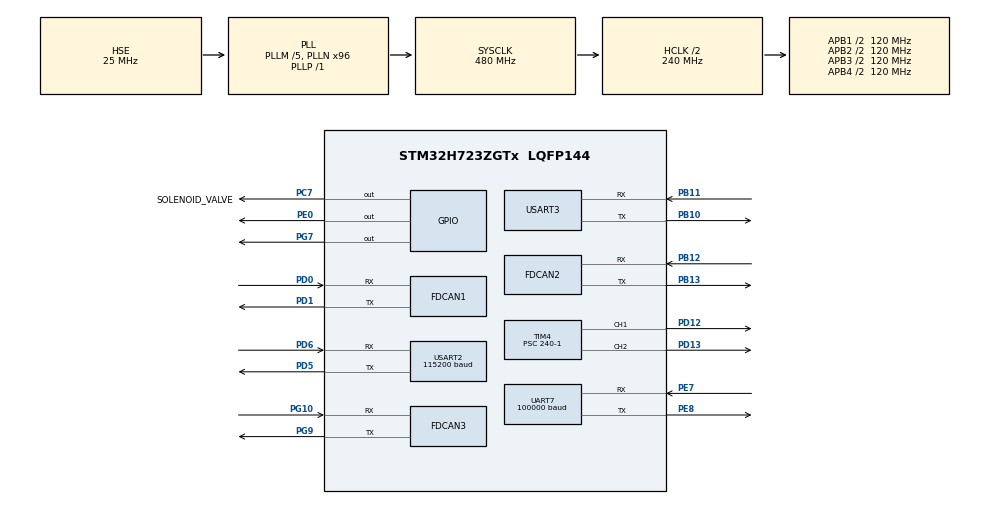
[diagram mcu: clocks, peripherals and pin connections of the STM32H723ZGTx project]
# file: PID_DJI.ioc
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CORTEX_M7.default_mode_Activation=1
Dma.Request0=USART3_RX
Dma.Request1=USART3_TX
Dma.Request2=UART7_RX
Dma.Request3=UART7_TX
Dma.Request4=USART2_RX
Dma.Request5=USART2_TX
Dma.UART7_RX.2.Direction=DMA_PERIPH_TO_MEMORY
Dma.UART7_RX.2.EventEnable=DISABLE
Dma.UART7_RX.2.FIFOMode=DMA_FIFOMODE_DISABLE
Dma.UART7_RX.2.Instance=DMA1_Stream2
Dma.UART7_RX.2.MemDataAlignment=DMA_MDATAALIGN_BYTE
Dma.UART7_RX.2.MemInc=DMA_MINC_ENABLE
Dma.UART7_RX.2.Mode=DMA_NORMAL
Dma.UART7_RX.2.PeriphDataAlignment=DMA_PDATAALIGN_BYTE
Dma.UART7_RX.2.PeriphInc=DMA_PINC_DISABLE
Dma.UART7_RX.2.Polarity=HAL_DMAMUX_REQ_GEN_RISING
Dma.UART7_RX.2.Priority=DMA_PRIORITY_LOW
Dma.UART7_RX.2.RequestNumber=1
Dma.UART7_RX.2.SignalID=NONE
Dma.UART7_RX.2.SyncEnable=DISABLE
Dma.UART7_RX.2.SyncPolarity=HAL_DMAMUX_SYNC_NO_EVENT
Dma.UART7_RX.2.SyncRequestNumber=1
Dma.UART7_RX.2.SyncSignalID=NONE
Dma.UART7_TX.3.Direction=DMA_MEMORY_TO_PERIPH
Dma.UART7_TX.3.EventEnable=DISABLE
Dma.UART7_TX.3.FIFOMode=DMA_FIFOMODE_DISABLE
Dma.UART7_TX.3.Instance=DMA1_Stream3
Dma.UART7_TX.3.MemDataAlignment=DMA_MDATAALIGN_BYTE
Dma.UART7_TX.3.MemInc=DMA_MINC_ENABLE
Dma.UART7_TX.3.Mode=DMA_NORMAL
Dma.UART7_TX.3.PeriphDataAlignment=DMA_PDATAALIGN_BYTE
Dma.UART7_TX.3.PeriphInc=DMA_PINC_DISABLE
Dma.UART7_TX.3.Polarity=HAL_DMAMUX_REQ_GEN_RISING
Dma.UART7_TX.3.Priority=DMA_PRIORITY_LOW
Dma.UART7_TX.3.RequestNumber=1
Dma.UART7_TX.3.SignalID=NONE
Dma.UART7_TX.3.SyncEnable=DISABLE
Dma.UART7_TX.3.SyncPolarity=HAL_DMAMUX_SYNC_NO_EVENT
Dma.UART7_TX.3.SyncRequestNumber=1
Dma.UART7_TX.3.SyncSignalID=NONE
Dma.USART2_RX.4.Direction=DMA_PERIPH_TO_MEMORY
Dma.USART2_RX.4.EventEnable=DISABLE
Dma.USART2_RX.4.FIFOMode=DMA_FIFOMODE_DISABLE
Dma.USART2_RX.4.Instance=DMA1_Stream4
Dma.USART2_RX.4.MemDataAlignment=DMA_MDATAALIGN_BYTE
Dma.USART2_RX.4.MemInc=DMA_MINC_ENABLE
Dma.USART2_RX.4.Mode=DMA_NORMAL
Dma.USART2_RX.4.PeriphDataAlignment=DMA_PDATAALIGN_BYTE
Dma.USART2_RX.4.PeriphInc=DMA_PINC_DISABLE
Dma.USART2_RX.4.Polarity=HAL_DMAMUX_REQ_GEN_RISING
Dma.USART2_RX.4.Priority=DMA_PRIORITY_LOW
Dma.USART2_RX.4.RequestNumber=1
Dma.USART2_RX.4.SignalID=NONE
Dma.USART2_RX.4.SyncEnable=DISABLE
Dma.USART2_RX.4.SyncPolarity=HAL_DMAMUX_SYNC_NO_EVENT
Dma.USART2_RX.4.SyncRequestNumber=1
Dma.USART2_RX.4.SyncSignalID=NONE
Dma.USART2_TX.5.Direction=DMA_MEMORY_TO_PERIPH
Dma.USART2_TX.5.EventEnable=DISABLE
Dma.USART2_TX.5.FIFOMode=DMA_FIFOMODE_DISABLE
Dma.USART2_TX.5.Instance=DMA1_Stream5
Dma.USART2_TX.5.MemDataAlignment=DMA_MDATAALIGN_BYTE
Dma.USART2_TX.5.MemInc=DMA_MINC_ENABLE
Dma.USART2_TX.5.Mode=DMA_NORMAL
Dma.USART2_TX.5.PeriphDataAlignment=DMA_PDATAALIGN_BYTE
Dma.USART2_TX.5.PeriphInc=DMA_PINC_DISABLE
Dma.USART2_TX.5.Polarity=HAL_DMAMUX_REQ_GEN_RISING
Dma.USART2_TX.5.Priority=DMA_PRIORITY_LOW
Dma.USART2_TX.5.RequestNumber=1
Dma.USART2_TX.5.SignalID=NONE
Dma.USART2_TX.5.SyncEnable=DISABLE
Dma.USART2_TX.5.SyncPolarity=HAL_DMAMUX_SYNC_NO_EVENT
Dma.USART2_TX.5.SyncRequestNumber=1
Dma.USART2_TX.5.SyncSignalID=NONE
Dma.USART3_RX.0.Direction=DMA_PERIPH_TO_MEMORY
Dma.USART3_RX.0.EventEnable=DISABLE
Dma.USART3_RX.0.FIFOMode=DMA_FIFOMODE_DISABLE
Dma.USART3_RX.0.Instance=DMA1_Stream0
Dma.USART3_RX.0.MemDataAlignment=DMA_MDATAALIGN_BYTE
Dma.USART3_RX.0.MemInc=DMA_MINC_ENABLE
Dma.USART3_RX.0.Mode=DMA_NORMAL
Dma.USART3_RX.0.PeriphDataAlignment=DMA_PDATAALIGN_BYTE
Dma.USART3_RX.0.PeriphInc=DMA_PINC_DISABLE
Dma.USART3_RX.0.Polarity=HAL_DMAMUX_REQ_GEN_RISING
Dma.USART3_RX.0.Priority=DMA_PRIORITY_LOW
Dma.USART3_RX.0.RequestNumber=1
Dma.USART3_RX.0.SignalID=NONE
Dma.USART3_RX.0.SyncEnable=DISABLE
Dma.USART3_RX.0.SyncPolarity=HAL_DMAMUX_SYNC_NO_EVENT
Dma.USART3_RX.0.SyncRequestNumber=1
Dma.USART3_RX.0.SyncSignalID=NONE
Dma.USART3_TX.1.Direction=DMA_MEMORY_TO_PERIPH
Dma.USART3_TX.1.EventEnable=DISABLE
Dma.USART3_TX.1.FIFOMode=DMA_FIFOMODE_DISABLE
Dma.USART3_TX.1.Instance=DMA1_Stream1
Dma.USART3_TX.1.MemDataAlignment=DMA_MDATAALIGN_BYTE
Dma.USART3_TX.1.MemInc=DMA_MINC_ENABLE
Dma.USART3_TX.1.Mode=DMA_NORMAL
Dma.USART3_TX.1.PeriphDataAlignment=DMA_PDATAALIGN_BYTE
Dma.USART3_TX.1.PeriphInc=DMA_PINC_DISABLE
Dma.USART3_TX.1.Polarity=HAL_DMAMUX_REQ_GEN_RISING
Dma.USART3_TX.1.Priority=DMA_PRIORITY_LOW
Dma.USART3_TX.1.RequestNumber=1
Dma.USART3_TX.1.SignalID=NONE
Dma.USART3_TX.1.SyncEnable=DISABLE
Dma.USART3_TX.1.SyncPolarity=HAL_DMAMUX_SYNC_NO_EVENT
Dma.USART3_TX.1.SyncRequestNumber=1
Dma.USART3_TX.1.SyncSignalID=NONE
FDCAN1.CalculateBaudRateNominal=1000000
FDCAN1.CalculateTimeBitNominal=1000
FDCAN1.CalculateTimeQuantumNominal=25.0
FDCAN1.DataPrescaler=3
FDCAN1.DataSyncJumpWidth=10
FDCAN1.DataTimeSeg1=29
FDCAN1.DataTimeSeg2=10
FDCAN1.NominalPrescaler=3
FDCAN1.NominalSyncJumpWidth=10
FDCAN1.NominalTimeSeg1=29
FDCAN1.NominalTimeSeg2=10
FDCAN1.ProtocolException=ENABLE
FDCAN1.RxFifo0ElmtsNbr=64
FDCAN1.StdFiltersNbr=1
FDCAN1.TxFifoQueueElmtsNbr=32
FDCAN2.CalculateBaudRateNominal=1000000
FDCAN2.CalculateTimeBitNominal=1000
FDCAN2.CalculateTimeQuantumNominal=25.0
FDCAN2.DataPrescaler=3
FDCAN2.DataSyncJumpWidth=10
FDCAN2.DataTimeSeg1=29
FDCAN2.DataTimeSeg2=10
FDCAN2.MessageRAMOffset=0x406
FDCAN2.NominalPrescaler=3
FDCAN2.NominalSyncJumpWidth=10
FDCAN2.NominalTimeSeg1=29
FDCAN2.NominalTimeSeg2=10
FDCAN2.ProtocolException=ENABLE
FDCAN2.RxFifo0ElmtsNbr=64
FDCAN2.StdFiltersNbr=1
FDCAN2.TxFifoQueueElmtsNbr=32
FDCAN3.CalculateBaudRateNominal=1000000
FDCAN3.CalculateTimeBitNominal=1000
FDCAN3.CalculateTimeQuantumNominal=25.0
FDCAN3.DataPrescaler=3
FDCAN3.DataSyncJumpWidth=10
FDCAN3.DataTimeSeg1=29
FDCAN3.DataTimeSeg2=10
FDCAN3.MessageRAMOffset=0x80C
FDCAN3.NominalPrescaler=3
FDCAN3.NominalSyncJumpWidth=10
FDCAN3.NominalTimeSeg1=29
FDCAN3.NominalTimeSeg2=10
FDCAN3.ProtocolException=ENABLE
FDCAN3.RxFifo0ElmtsNbr=64
FDCAN3.StdFiltersNbr=1
FDCAN3.TxFifoQueueElmtsNbr=32
FREERTOS.Tasks01=defaultTask,24,128,StartDefaultTask,Default,NULL,Dynamic,NULL,NULL;myTask02,8,128,StartTask02,Default,NULL,Dynamic,NULL,NULL
IWDG1.Prescaler=IWDG_PRESCALER_8
IWDG1.Reload=30
IWDG1.Window=30
Mcu.Family=STM32H7
Mcu.Name=STM32H723ZGTx
Mcu.Package=LQFP144
NVIC.DMA1_Stream0_IRQn=true\:5\:0\:false\:false\:true\:true\:false\:true\:true
NVIC.DMA1_Stream1_IRQn=true\:5\:0\:false\:false\:true\:true\:false\:true\:true
NVIC.DMA1_Stream2_IRQn=true\:5\:0\:false\:false\:true\:true\:false\:true\:true
NVIC.DMA1_Stream3_IRQn=true\:5\:0\:false\:false\:true\:true\:false\:true\:true
NVIC.DMA1_Stream4_IRQn=true\:5\:0\:false\:false\:true\:true\:false\:true\:true
NVIC.DMA1_Stream5_IRQn=true\:5\:0\:false\:false\:true\:true\:false\:true\:true
NVIC.FDCAN1_IT0_IRQn=true\:6\:0\:true\:false\:true\:true\:true\:true\:true
NVIC.FDCAN2_IT0_IRQn=true\:6\:0\:true\:false\:true\:true\:true\:true\:true
NVIC.FDCAN2_IT1_IRQn=true\:6\:0\:true\:false\:true\:true\:true\:true\:true
NVIC.FDCAN3_IT0_IRQn=true\:5\:0\:false\:false\:true\:true\:true\:true\:true
NVIC.FDCAN3_IT1_IRQn=true\:5\:0\:false\:false\:true\:true\:true\:true\:true
NVIC.FDCAN_CAL_IRQn=true\:5\:0\:false\:false\:true\:true\:true\:true\:true
NVIC.PriorityGroup=NVIC_PRIORITYGROUP_4
NVIC.TIM1_UP_IRQn=true\:15\:0\:false\:false\:true\:false\:false\:true\:true
NVIC.TIM6_DAC_IRQn=true\:5\:0\:false\:false\:true\:true\:true\:true\:true
NVIC.TIM7_IRQn=true\:5\:0\:false\:false\:true\:true\:true\:true\:true
NVIC.TimeBase=TIM1_UP_IRQn
NVIC.TimeBaseIP=TIM1
NVIC.UART7_IRQn=true\:8\:0\:true\:false\:true\:true\:true\:true\:true
NVIC.USART2_IRQn=true\:7\:0\:true\:false\:true\:true\:true\:true\:true
NVIC.USART3_IRQn=true\:7\:0\:true\:false\:true\:true\:true\:true\:true
PA13(JTMS/SWDIO).Mode=Serial_Wire
PA13(JTMS/SWDIO).Signal=DEBUG_JTMS-SWDIO
PA14(JTCK/SWCLK).Mode=Serial_Wire
PA14(JTCK/SWCLK).Signal=DEBUG_JTCK-SWCLK
PB10.Mode=Asynchronous
PB10.Signal=USART3_TX
PB11.Mode=Asynchronous
PB11.Signal=USART3_RX
PB12.Mode=FDCAN_Activate
PB12.Signal=FDCAN2_RX
PB13.Mode=FDCAN_Activate
PB13.Signal=FDCAN2_TX
PC14-OSC32_IN.Mode=LSE-External-Oscillator
PC14-OSC32_IN.Signal=RCC_OSC32_IN
PC15-OSC32_OUT.Mode=LSE-External-Oscillator
PC15-OSC32_OUT.Signal=RCC_OSC32_OUT
PC7.GPIO_Label=SOLENOID_VALVE
PC7.PinState=GPIO_PIN_SET
PC7.Signal=GPIO_Output
PD0.Mode=FDCAN_Activate
PD0.Signal=FDCAN1_RX
PD1.Mode=FDCAN_Activate
PD1.Signal=FDCAN1_TX
PD12.Signal=S_TIM4_CH1
PD13.Signal=S_TIM4_CH2
PD5.Mode=Asynchronous
PD5.Signal=USART2_TX
PD6.Mode=Asynchronous
PD6.Signal=USART2_RX
PE0.Signal=GPIO_Output
PE7.Mode=Asynchronous
PE7.Signal=UART7_RX
PE8.Mode=Asynchronous
PE8.Signal=UART7_TX
PG10.Mode=FDCAN_Activate
PG10.Signal=FDCAN3_RX
PG7.GPIO_PuPd=GPIO_PULLUP
PG7.Signal=GPIO_Output
PG9.Mode=FDCAN_Activate
PG9.Signal=FDCAN3_TX
PH0-OSC_IN.Mode=HSE-External-Oscillator
PH0-OSC_IN.Signal=RCC_OSC_IN
PH1-OSC_OUT.Mode=HSE-External-Oscillator
PH1-OSC_OUT.Signal=RCC_OSC_OUT
ProjectManager.HeapSize=0x200
ProjectManager.StackSize=0x400
ProjectManager.TargetToolchain=MDK-ARM V5.32
RCC.ADCFreq_Value=50390625
RCC.APB1Freq_Value=120000000
RCC.APB2Freq_Value=120000000
RCC.APB3Freq_Value=120000000
RCC.APB4Freq_Value=120000000
RCC.CortexFreq_Value=480000000
RCC.D1PPRE=RCC_APB3_DIV2
RCC.D2PPRE1=RCC_APB1_DIV2
RCC.D2PPRE2=RCC_APB2_DIV2
RCC.D3PPRE=RCC_APB4_DIV2
RCC.DIVM1=5
RCC.DIVN1=96
RCC.DIVP1=1
RCC.DIVQ1=4
RCC.HCLKFreq_Value=240000000
RCC.HPRE=RCC_HCLK_DIV2
RCC.HSE_VALUE=25000000
RCC.PLLFRACN=0
RCC.PLLSourceVirtual=RCC_PLLSOURCE_HSE
RCC.SYSCLKFreq_VALUE=480000000
RCC.SYSCLKSource=RCC_SYSCLKSOURCE_PLLCLK
RCC.USBFreq_Value=120000000
SH.S_TIM4_CH1.0=TIM4_CH1,PWM Generation1 CH1
SH.S_TIM4_CH2.0=TIM4_CH2,PWM Generation2 CH2
TIM4.Channel-PWM\ Generation1\ CH1=TIM_CHANNEL_1
TIM4.Channel-PWM\ Generation2\ CH2=TIM_CHANNEL_2
TIM4.Period=20000-1
TIM4.Prescaler=240-1
TIM6.Period=1000
TIM6.Prescaler=240
TIM7.Period=1000
TIM7.Prescaler=240
UART7.BaudRate=100000
USART2.BaudRate=115200
USART2.VirtualMode-Asynchronous=VM_ASYNC
USART3.VirtualMode-Asynchronous=VM_ASYNC
VP_FREERTOS_VS_CMSIS_V2.Mode=CMSIS_V2
VP_IWDG1_VS_IWDG.Mode=IWDG_Activate
VP_SYS_VS_tim1.Mode=TIM1
VP_TIM6_VS_ClockSourceINT.Mode=Enable_Timer
VP_TIM7_VS_ClockSourceINT.Mode=Enable_Timer
board=custom

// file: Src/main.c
/* USER CODE BEGIN Header */
/**
  ******************************************************************************
  * @file           : main.c
  * @brief          : Main program body
  ******************************************************************************
  * @attention
  *
  * Copyright (c) 2024 STMicroelectronics.
  * All rights reserved.
  *
  * This software is licensed under terms that can be found in the LICENSE file
  * in the root directory of this software component.
  * If no LICENSE file comes with this software, it is provided AS-IS.
  *
  ******************************************************************************
  */
/* USER CODE END Header */
#include "main.h"
#include "cmsis_os.h"
#include "dma.h"
#include "fdcan.h"
#include "iwdg.h"
#include "tim.h"
#include "usart.h"
#include "gpio.h"

/* USER CODE BEGIN Includes */
#include "PID_MODEL.h"
#include "rtwtypes.h"
#include <math.h>
#include "bsp_fdcan.h"
#include "motorctrl.h"
#include "stdio.h"
#include "math.h"
#include "dm_motor_drv.h"
#include "dm_motor_ctrl.h"
#include "UPPER_LOCATION.h"
#include "stdio.h"
#include "string.h"
#include "sbus.h"
#include "r1_shoot.h"

/* USER CODE END Includes */

/* USER CODE BEGIN PTD */
extern motor_t motor[num];
extern uint8_t CAN_RECEIVE[3];
extern TGT_COOR TC;
extern REAL_COOR RC;
extern double deadband;
extern motor_measure_t *motor_data_can1[8];
extern motor_measure_t *motor_data_can2[8];
extern motor_measure_t *motor_data_can3[8];

extern IWDG_HandleTypeDef hiwdg1;
extern int Vel_Deadband[3];
extern double tor_output[3*8];
extern shoot_t shoot_data;
extern SBUS_CH_Struct SBUS_CH;
extern uint8_t DribblingStatus;
#define CUR      0
#define VEL      1
#define ANG      2

#define PI 3.1415926
#define m6020_2_1_init 5848
#define m6020_2_2_init 3021
#define m6020_2_3_init	3055
uint8_t active_can[10];
uint8_t shoot_flag[10]={0};
uint8_t dri_flag=0;

/* USER CODE END PTD */

/* USER CODE BEGIN PM */

int theta_test[10];

uint8_t uart_index[2] = {0};
uint8_t buffer[100];
char UART2_TX_BUF[100];
uint8_t UART7_RX_BUF[100];
uint8_t UART2_RX_BUF[100];
uint8_t rx_datatemp[8];
int cnt[10];
int PinState=0;
uint8_t usart2_rec=0;
/* USER CODE END PM */

void SystemClock_Config(void);
static void MPU_Config(void);
void MX_FREERTOS_Init(void);

int main(void)
{

  /* MPU Configuration--------------------------------------------------------*/
  MPU_Config();

  /* MCU Configuration--------------------------------------------------------*/

  /* Reset of all peripherals, Initializes the Flash interface and the Systick. */
  HAL_Init();

  /* Configure the system clock */
  SystemClock_Config();

  /* Initialize all configured peripherals */
  MX_GPIO_Init();
  MX_DMA_Init();
  MX_TIM6_Init();
  MX_FDCAN2_Init();
  MX_USART2_UART_Init();
  MX_FDCAN3_Init();
  MX_USART3_UART_Init();
  MX_FDCAN1_Init();
  MX_UART7_Init();
 // MX_IWDG1_Init();
  MX_TIM4_Init();
  MX_TIM7_Init();
  /* USER CODE BEGIN 2 */
	HAL_TIM_PWM_Start(&htim4,TIM_CHANNEL_1);
	HAL_TIM_PWM_Start(&htim4,TIM_CHANNEL_2);

	HAL_TIM_Base_Start_IT(&htim6);
	HAL_TIM_Base_Start_IT(&htim7);

	HAL_UART_Receive_IT(&huart2, buffer+1, 1);
	HAL_UART_Receive_IT(&huart7, buffer, 1);
//  can_filter_init();
//	bsp_can_init();
  fdcan_filter_init(&hfdcan1);
	fdcan_filter_init(&hfdcan2);
  fdcan_filter_init(&hfdcan3);

	PID_MODEL_initialize();
	PID_Speed_Para_Init(1, 1, 10 , 3 , 0.01);
	PID_Speed_Para_Init(1, 2, 10 , 3 , 0.01);
	PID_Speed_Para_Init(1, 3, 10 , 3 , 0.01);
	PID_Speed_Para_Init(1, 4, 10 , 3 , 0.01);
	PID_Speed_Para_Init(1, 5, 70 , 50 , 0.01);

//
	PID_Speed_Para_Init(2, 1, 20 , 8 , 0.01);
	PID_Speed_Para_Init(2, 2, 20 , 8 , 0.01);
	PID_Speed_Para_Init(2, 3, 20 , 8 , 0.01);

	PID_Speed_Para_Init(2, 5, 70 , 8 , 0.01);
	PID_Speed_Para_Init(2, 6, 70 , 8 , 0.01);
	PID_Speed_Para_Init(2, 7, 70 , 8 , 0.01);

	PID_Speed_Para_Init(3, 1, 10 , 3 , 0.01);
	PID_Speed_Para_Init(3, 2, 10 , 3 , 0.01);
	PID_Speed_Para_Init(3, 3, 10 , 3 , 0.01);
	PID_Speed_Para_Init(3, 4, 10 , 3 , 0.01);
	PID_Speed_Para_Init(3, 5, 10 , 3 , 0.01);
	PID_Speed_Para_Init(3, 6, 10 , 3 , 0.01);
	PID_Speed_Para_Init(3, 7, 10 , 3 , 0.01);

	PID_Angle_S_Para_Init(1, 1 , 10 , 3 , 0.01);
  PID_Angle_A_Para_Init(1, 1 , 0.3 , 0 , 0);

	PID_Angle_S_Para_Init(1, 2 , 10 , 3 , 0.01);
  PID_Angle_A_Para_Init(1, 2 , 0.3 , 0 , 0);

	PID_Angle_S_Para_Init(1, 3 , 10 , 3 , 0.01);
  PID_Angle_A_Para_Init(1, 3 , 0.3 , 0 , 0);

	PID_Angle_S_Para_Init(1, 5 , 4 , 0.5 , 0.1);
  PID_Angle_A_Para_Init(1, 5 , 0.5 , 0.07 , 0.01);
  PID_Angle_S_Para_Init(1, 6 , 4 , 0.5 , 0.1);
  PID_Angle_A_Para_Init(1, 6 , 0.5 , 0.07 , 0.01);

  PID_Angle_S_Para_Init(1, 7 , 10 , 3 , 0.01);
  PID_Angle_A_Para_Init(1, 7 , 0.3 , 0 , 0);

	PID_Angle_S_Para_Init(2, 1 , 10 , 3 , 0.01);
  PID_Angle_A_Para_Init(2, 1 , 0.3 , 0 , 0);

	PID_Angle_S_Para_Init(2, 3 , 5 , 3 , 0.01);
  PID_Angle_A_Para_Init(2, 3 , 1.5 , 1 , 0.1);

	PID_Angle_S_Para_Init(2, 5 , 70 , 30 , 0.1);
  PID_Angle_A_Para_Init(2, 5 , 0.5 , 0 , 0);
	PID_Angle_S_Para_Init(2, 6 , 70 , 30 , 0.1);
  PID_Angle_A_Para_Init(2, 6 , 0.5 , 0 , 0);
	PID_Angle_S_Para_Init(2, 7 , 70 , 30 , 0.1);
  PID_Angle_A_Para_Init(2, 7 , 0.5 , 0 , 0);

	PID_Angle_S_Para_Init(3, 1 , 10 , 3 , 0.01);
  PID_Angle_A_Para_Init(3, 1 , 0.3 , 0 , 0);

	PID_Angle_S_Para_Init(3, 5 , 4 , 0.5 , 0.1); //这个是夹爪的2006
  PID_Angle_A_Para_Init(3, 5 , 0.5 , 0.07 , 0.01);
  PID_Angle_S_Para_Init(3, 6 , 4 , 0.5 , 0.1);//升降�?3508
  PID_Angle_A_Para_Init(3, 6 , 0.5 , 0.07 , 0.01);

  PID_Angle_S_Para_Init(3, 7 , 10 , 3 , 0.01);//上弹的时候转的那�?3508
  PID_Angle_A_Para_Init(3, 7 , 0.3 , 0 , 0);

	Set_6020_Mode( 0 );
	set_mode( VEL, VEL, ANG, VEL, VEL, ANG, ANG,
            VEL, VEL, VEL, VEL, ANG, ANG, ANG,
					  ANG, VEL, VEL, VEL, ANG, ANG, ANG );
	dm_motor_init();
	for(int i=0;i<10;i++){
		dm_motor_enable(&hfdcan1,&motor[Motor1]);
		dm_motor_enable(&hfdcan1,&motor[Motor2]);
		dm_motor_enable(&hfdcan1,&motor[Motor3]);
		HAL_Delay(10);
	}

	memset(UART2_TX_BUF,0,sizeof(UART2_TX_BUF));
	rtU.target_CH1_5=1000;
//	while(1){
//		active_can[0]=motor_data_can2[4]->activate;
//		if(active_can[0])
//			break;
//	}

//		rtU.target_CH2_5=m6020_2_1_init;
//	while(1){
//		active_can[1]=motor_data_can2[5]->activate;
//		if(active_can[1])
//			break;
//	}

//		rtU.target_CH2_6=m6020_2_2_init;
//	while(1){
//		active_can[2]=motor_data_can2[6]->activate;
//		if(active_can[2])
//			break;
//	}

//		rtU.target_CH2_7=m6020_2_3_init;

  /* USER CODE END 2 */

  /* Init scheduler */
  osKernelInitialize();

  /* Call init function for freertos objects (in cmsis_os2.c) */
  MX_FREERTOS_Init();

  /* Start scheduler */
  osKernelStart();

  /* We should never get here as control is now taken by the scheduler */

  /* Infinite loop */
  /* USER CODE BEGIN WHILE */
  while (1)
  {

//		if(RC.action==1)
//		{
//			int buff_len;
//			memset(UART2_TX_BUF,0,sizeof(UART2_TX_BUF));
//			buff_len = sprintf(UART2_TX_BUF,"%f\r\n",(float)deadband);
//			HAL_UART_Transmit_DMA(&huart2,(uint8_t *)UART2_TX_BUF,buff_len);
//		}

    /* USER CODE END WHILE */

  }
}

void SystemClock_Config(void)
{
  RCC_OscInitTypeDef RCC_OscInitStruct = {0};
  RCC_ClkInitTypeDef RCC_ClkInitStruct = {0};

  /** Supply configuration update enable
  */
  HAL_PWREx_ConfigSupply(PWR_LDO_SUPPLY);

  /** Configure the main internal regulator output voltage
  */
  __HAL_PWR_VOLTAGESCALING_CONFIG(PWR_REGULATOR_VOLTAGE_SCALE0);

  while(!__HAL_PWR_GET_FLAG(PWR_FLAG_VOSRDY)) {}

  /** Initializes the RCC Oscillators according to the specified parameters
  * in the RCC_OscInitTypeDef structure.
  */
  RCC_OscInitStruct.OscillatorType = RCC_OSCILLATORTYPE_LSI|RCC_OSCILLATORTYPE_HSE;
  RCC_OscInitStruct.HSEState = RCC_HSE_ON;
  RCC_OscInitStruct.LSIState = RCC_LSI_ON;
  RCC_OscInitStruct.PLL.PLLState = RCC_PLL_ON;
  RCC_OscInitStruct.PLL.PLLSource = RCC_PLLSOURCE_HSE;
  RCC_OscInitStruct.PLL.PLLM = 5;
  RCC_OscInitStruct.PLL.PLLN = 96;
  RCC_OscInitStruct.PLL.PLLP = 1;
  RCC_OscInitStruct.PLL.PLLQ = 4;
  RCC_OscInitStruct.PLL.PLLR = 2;
  RCC_OscInitStruct.PLL.PLLRGE = RCC_PLL1VCIRANGE_2;
  RCC_OscInitStruct.PLL.PLLVCOSEL = RCC_PLL1VCOWIDE;
  RCC_OscInitStruct.PLL.PLLFRACN = 0;
  if (HAL_RCC_OscConfig(&RCC_OscInitStruct) != HAL_OK)
  {
    Error_Handler();
  }

  /** Initializes the CPU, AHB and APB buses clocks
  */
  RCC_ClkInitStruct.ClockType = RCC_CLOCKTYPE_HCLK|RCC_CLOCKTYPE_SYSCLK
                              |RCC_CLOCKTYPE_PCLK1|RCC_CLOCKTYPE_PCLK2
                              |RCC_CLOCKTYPE_D3PCLK1|RCC_CLOCKTYPE_D1PCLK1;
  RCC_ClkInitStruct.SYSCLKSource = RCC_SYSCLKSOURCE_PLLCLK;
  RCC_ClkInitStruct.SYSCLKDivider = RCC_SYSCLK_DIV1;
  RCC_ClkInitStruct.AHBCLKDivider = RCC_HCLK_DIV2;
  RCC_ClkInitStruct.APB3CLKDivider = RCC_APB3_DIV2;
  RCC_ClkInitStruct.APB1CLKDivider = RCC_APB1_DIV2;
  RCC_ClkInitStruct.APB2CLKDivider = RCC_APB2_DIV2;
  RCC_ClkInitStruct.APB4CLKDivider = RCC_APB4_DIV2;

  if (HAL_RCC_ClockConfig(&RCC_ClkInitStruct, FLASH_LATENCY_3) != HAL_OK)
  {
    Error_Handler();
  }
}

/* USER CODE BEGIN 4 */

void HAL_UART_RxCpltCallback(UART_HandleTypeDef *huart)
{

		 if (huart->Instance == USART2)
    {
				if(uart_index[1] == 0 && buffer[1]!=0xA5){
					HAL_UART_Receive_IT(&huart2, buffer+1, 1);

				}else{
        UART2_RX_BUF[uart_index[1]++] = buffer[1];

        if (uart_index[1] == 16)
        {
            uart_index[1] = 0;
            if (UART2_RX_BUF[0] == 0xA5 && UART2_RX_BUF[15] == 0x5A)
            {
								Receive();

            }
        }

        HAL_UART_Receive_IT(&huart2, buffer+1, 1);
			}

    }

    if (huart->Instance == UART7)
    {

			if(uart_index[0] == 0 && buffer[0]!=0x0F){
					HAL_UART_Receive_IT(&huart7, buffer, 1);

				}else
        UART7_RX_BUF[uart_index[0]++] = buffer[0];

        if (uart_index[0] == 24)
        {
            uart_index[0] = 0;
            if (UART7_RX_BUF[0] == 0x0F && UART7_RX_BUF[24] == 0x00)
            {
								update_sbus(UART7_RX_BUF);
            }
        }

        HAL_UART_Receive_IT(&huart7, buffer, 1);

    }
}
void HAL_UART_ErrorCallback(UART_HandleTypeDef *huart)
{
  if (huart->Instance == UART7)
  {
        HAL_UART_Receive_IT(&huart7, buffer+1, 1);

  }
  if (huart->Instance == USART2)
  {
    HAL_UART_Receive_IT(&huart2, buffer, 1);
  }
}

/* USER CODE END 4 */

 /* MPU Configuration */

void MPU_Config(void)
{
  MPU_Region_InitTypeDef MPU_InitStruct = {0};

  /* Disables the MPU */
  HAL_MPU_Disable();

  /** Initializes and configures the Region and the memory to be protected
  */
  MPU_InitStruct.Enable = MPU_REGION_ENABLE;
  MPU_InitStruct.Number = MPU_REGION_NUMBER0;
  MPU_InitStruct.BaseAddress = 0x0;
  MPU_InitStruct.Size = MPU_REGION_SIZE_4GB;
  MPU_InitStruct.SubRegionDisable = 0x87;
  MPU_InitStruct.TypeExtField = MPU_TEX_LEVEL0;
  MPU_InitStruct.AccessPermission = MPU_REGION_NO_ACCESS;
  MPU_InitStruct.DisableExec = MPU_INSTRUCTION_ACCESS_DISABLE;
  MPU_InitStruct.IsShareable = MPU_ACCESS_SHAREABLE;
  MPU_InitStruct.IsCacheable = MPU_ACCESS_NOT_CACHEABLE;
  MPU_InitStruct.IsBufferable = MPU_ACCESS_NOT_BUFFERABLE;

  HAL_MPU_ConfigRegion(&MPU_InitStruct);
  /* Enables the MPU */
  HAL_MPU_Enable(MPU_PRIVILEGED_DEFAULT);

}

void HAL_TIM_PeriodElapsedCallback(TIM_HandleTypeDef *htim)
{
  if (htim->Instance == TIM1) {
    HAL_IncTick();
  }
  /* USER CODE BEGIN Callback 1 */
  if (htim->Instance == TIM6)
  {

		dm_motor_ctrl_send(&hfdcan1,&motor[Motor1]);

		float pos = 5.0*sin(3.14*cnt[0]/1000);
		motor[Motor1].ctrl.pos_set=pos;

    cnt[0]++;
		HAL_IWDG_Refresh(&hiwdg1);//feed the IWG

		Reach_TGT();
		get_msgn();
		assign_output();
    motor_state_update();
		set_reset_status();
		PID_MODEL_step();
		cnt[1]++;
		if(cnt[1]==500){
			HAL_GPIO_TogglePin(GPIOG,GPIO_PIN_7);
			cnt[1]=0;
		}

  }

	 if (htim->Instance == TIM7)
	{
		reload();
		rtU.status_CH1_1=CUR;
		rtU.status_CH1_2=CUR;
		tor_output[CH1_1]=-shoot_data.output_stg;
		tor_output[CH1_2]=shoot_data.output_stg;
		SetServo(&htim4, TIM_CHANNEL_1, shoot_data.output_servo0, 20000, 20);
		SetServo(&htim4, TIM_CHANNEL_2, shoot_data.output_servo1, 20000, 20);

				if(SBUS_CH.ConnectState==1&&SBUS_CH.CH6<800){
			if(SBUS_CH.CH5>600&&SBUS_CH.CH5<1200&&shoot_flag[0]==0){
				shoot_flag[0]=1;
				shoot_data.shoot_ctl=1;
			}
			if(SBUS_CH.CH5<600&&shoot_flag[1]==0){
				shoot_flag[1]=1;
				shoot_data.shoot_ctl=4;
			}
			if(SBUS_CH.CH5>1200)
			{
				shoot_flag[0]=0;
				shoot_flag[1]=0;

			}
		}

		else if(SBUS_CH.ConnectState==1&&SBUS_CH.CH6<1200&&SBUS_CH.CH6>800){

			if(SBUS_CH.CH5<1200&&dri_flag==0){
				dri_flag=1;
				DribblingStatus=1;
			}
			if(SBUS_CH.CH5>1200)
			{
				dri_flag=0;
			}
		}
			cnt[2]++;

		}
  /* USER CODE END Callback 1 */
}

void Error_Handler(void)
{
  __disable_irq();
  while (1)
  {
  }
}

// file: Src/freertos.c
/* USER CODE BEGIN Header */
/**
  ******************************************************************************
  * File Name          : freertos.c
  * Description        : Code for freertos applications
  ******************************************************************************
  * @attention
  *
  * Copyright (c) 2025 STMicroelectronics.
  * All rights reserved.
  *
  * This software is licensed under terms that can be found in the LICENSE file
  * in the root directory of this software component.
  * If no LICENSE file comes with this software, it is provided AS-IS.
  *
  ******************************************************************************
  */
/* USER CODE END Header */

#include "FreeRTOS.h"
#include "task.h"
#include "main.h"
#include "cmsis_os.h"

/* USER CODE BEGIN Includes */
#include "PID_MODEL.h"
#include "rtwtypes.h"
#include <math.h>
#include "bsp_fdcan.h"
#include "motorctrl.h"
#include "stdio.h"
#include "math.h"
#include "dm_motor_drv.h"
#include "dm_motor_ctrl.h"
#include "UPPER_LOCATION.h"
#include "stdio.h"
#include "string.h"
#include "sbus.h"
#include "r1_shoot.h"
#include "R1_dribble.h"

/* USER CODE END Includes */

/* Definitions for defaultTask */
osThreadId_t defaultTaskHandle;
const osThreadAttr_t defaultTask_attributes = {
  .name = "defaultTask",
  .stack_size = 128 * 4,
  .priority = (osPriority_t) osPriorityNormal,
};
/* Definitions for myTask02 */
osThreadId_t myTask02Handle;
const osThreadAttr_t myTask02_attributes = {
  .name = "myTask02",
  .stack_size = 128 * 4,
  .priority = (osPriority_t) osPriorityLow,
};

void StartDefaultTask(void *argument);
void StartTask02(void *argument);

void MX_FREERTOS_Init(void); /* (MISRA C 2004 rule 8.1) */

void MX_FREERTOS_Init(void) {

  /* Create the thread(s) */
  /* creation of defaultTask */
  defaultTaskHandle = osThreadNew(StartDefaultTask, NULL, &defaultTask_attributes);

  /* creation of myTask02 */
  myTask02Handle = osThreadNew(StartTask02, NULL, &myTask02_attributes);

}

void StartDefaultTask(void *argument)
{
  /* USER CODE BEGIN StartDefaultTask */
	TickType_t xLastWakeTime;
  const TickType_t xDelay1ms = pdMS_TO_TICKS( 1 );
  xLastWakeTime = xTaskGetTickCount();

  /* Infinite loop */
  for(;;)
  {

		chassis_with_remote();

    vTaskDelayUntil(&xLastWakeTime,xDelay1ms);
  }
  /* USER CODE END StartDefaultTask */
}

void StartTask02(void *argument)
{
  /* USER CODE BEGIN StartTask02 */
  /* Infinite loop */
  for(;;)
  {

		Dribble_test(1000);
    osDelay(1);
  }
  /* USER CODE END StartTask02 */
}
